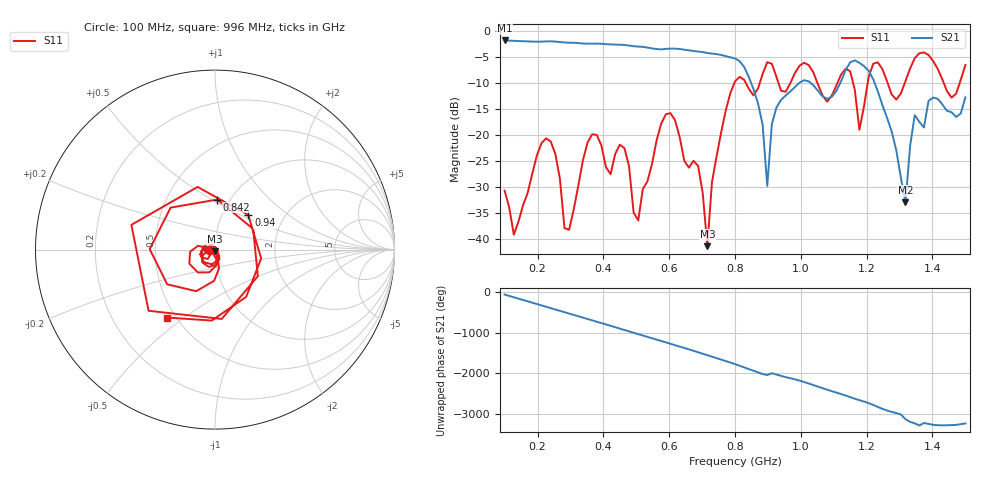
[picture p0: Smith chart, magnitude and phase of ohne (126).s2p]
! NanoVNA-App
! Date: 2025-09-25 14:21:47
! Start: 100MHz Stop: 1,5GHz Points: 101
! S-Parameter data: F S11 S21 S12 S22
# Hz S RI R 50
!  Frequency  S11_Real  S11_Imag  S21_Real  S21_Imag  S12_Real  S12_Imag  S22_Real  S22_Imag
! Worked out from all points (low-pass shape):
!   101 points, 100 MHz to 1.5 GHz, reference 50 ohm
!   highest |S21| = -1.79 dB at 100 MHz (marker M1); lowest = -32.9 dB at 1.318 GHz (marker M2)
!   |S21| within 3 dB of the highest: start of sweep to 771.7 MHz
!   lowest |S11| = -41.3 dB at 716 MHz (marker M3), VSWR 1.02, Z = 49.8 - j0.845 ohm
!   |S11| at or under -10 dB: start of sweep to 797.8 MHz; 833.2 MHz to 875.1 MHz (41.9 MHz wide, 4.91 % of centre); 1.051 GHz to 1.111 GHz (60.36 MHz wide, 5.58 % of centre) (the widest 3 of 7)
!   S12 and S22 are empty: the file has one direction only
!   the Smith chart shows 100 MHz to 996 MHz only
!   S11 on the Smith chart (normalised r, x): 100 MHz: 0.94, -0.01; 842 MHz: 0.88, +0.53; 940 MHz: 1.33, +0.55; 996 MHz: 0.45, -0.43
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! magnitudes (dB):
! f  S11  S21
! 100 MHz  -30.6  -1.8
! 128 MHz  -39.1  -1.9
! 226 MHz  -20.6  -2.0
! 296 MHz  -38.1  -2.2
! 338 MHz  -24.8  -2.4
! 464 MHz  -22.5  -2.7
! 506 MHz  -36.4  -3.0
! 576 MHz  -17.7  -3.5
! 688 MHz  -25.9  -3.9
! 716 MHz  -41.3  -4.2
! 800 MHz  -9.7  -5.2
! 842 MHz  -11.1  -8.8
! 898 MHz  -6.0  -29.7
! 940 MHz  -11.5  -13.2
! 996 MHz  -6.7  -9.9
! 1.038 GHz  -7.9  -10.4
! 1.178 GHz  -18.9  -6.1
! 1.22 GHz  -6.3  -9.2
! 1.276 GHz  -12.2  -19.3
! 1.318 GHz  -9.6  -32.9
! 1.346 GHz  -5.2  -16.1
! 1.5 GHz  -6.5  -12.7
